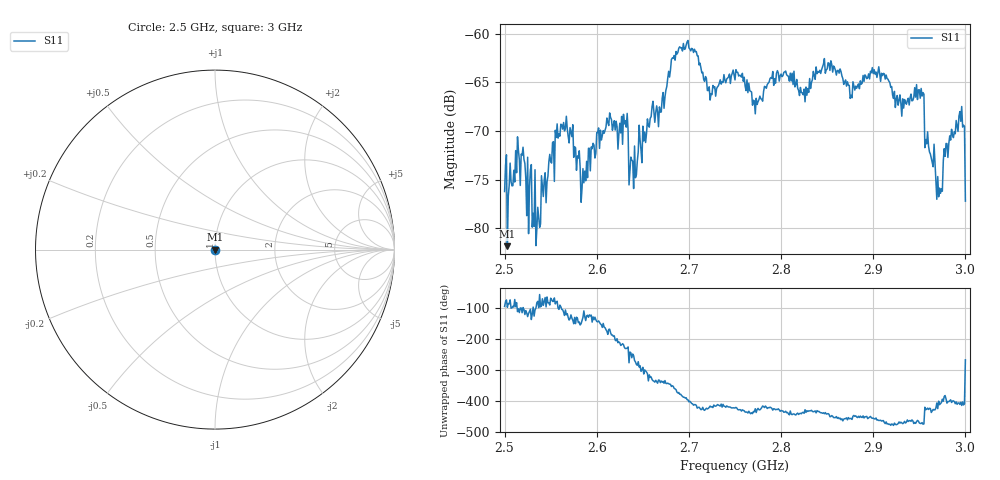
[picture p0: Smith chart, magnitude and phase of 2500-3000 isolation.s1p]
! NanoVNA-App by SYSJOINT et al v1.1.209 (+OD18)
! Date: 2025-09-17 10:38:50
! Start: 2.5GHz Stop: 3GHz Points: 501
! S-Parameter data: F S11
# Hz S RI R 50
!  Frequency  S11_Real  S11_Imag
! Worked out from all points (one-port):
!   501 points, 2.5 GHz to 3 GHz, reference 50 ohm
!   lowest |S11| = -81.9 dB at 2.503 GHz (marker M1), VSWR 1.00, Z = 50 - j0.00799 ohm
!   |S11| at or under -10 dB: start of sweep to end of sweep
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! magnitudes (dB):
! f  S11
! 2.5 GHz  -76.2
! 2.503 GHz  -81.9
! 2.52 GHz  -71.7
! 2.537 GHz  -79.0
! 2.542 GHz  -76.7
! 2.563 GHz  -69.8
! 2.585 GHz  -73.9
! 2.613 GHz  -69.4
! 2.625 GHz  -69.2
! 2.631 GHz  -68.9
! 2.637 GHz  -72.7
! 2.642 GHz  -74.8
! 2.688 GHz  -61.9
! 2.708 GHz  -61.8
! 2.723 GHz  -66.8
! 2.75 GHz  -64.7
! 2.771 GHz  -66.9
! 2.813 GHz  -65.2
! 2.828 GHz  -66.3
! 2.853 GHz  -63.8
! 2.875 GHz  -66.6
! 2.899 GHz  -63.5
! 2.938 GHz  -66.6
! 2.953 GHz  -66.4
! 2.958 GHz  -71.3
! 2.971 GHz  -76.8
! 2.995 GHz  -69.0
! 3 GHz  -77.2
